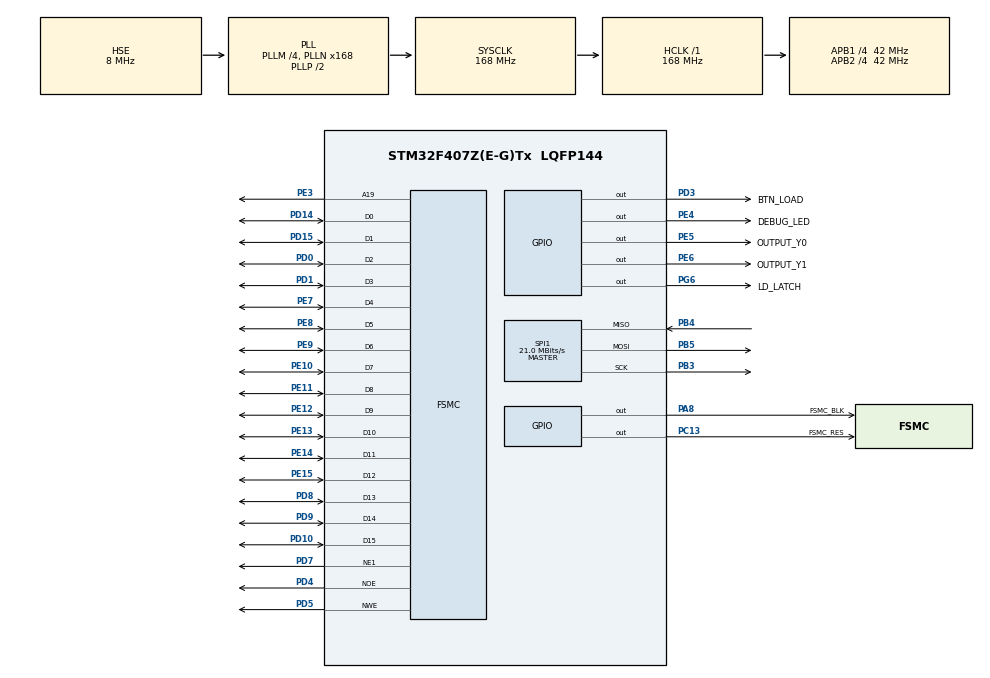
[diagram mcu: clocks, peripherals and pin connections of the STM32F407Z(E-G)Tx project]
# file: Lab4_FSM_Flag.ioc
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FSMC.AddressSetupTime1=0xf
FSMC.BusTurnAroundDuration1=0
FSMC.DataSetupTime1=60
FSMC.ExtendedAddressSetupTime1=9
FSMC.ExtendedBusTurnAroundDuration1=0
FSMC.ExtendedDataSetupTime1=8
FSMC.ExtendedMode1=FSMC_EXTENDED_MODE_ENABLE
Mcu.Family=STM32F4
Mcu.Name=STM32F407Z(E-G)Tx
Mcu.Package=LQFP144
NVIC.PriorityGroup=NVIC_PRIORITYGROUP_4
NVIC.TIM2_IRQn=true\:0\:0\:false\:false\:true\:true\:true\:true
NVIC.TIM4_IRQn=true\:0\:0\:false\:false\:true\:true\:true\:true
PA13.Mode=Serial_Wire
PA13.Signal=SYS_JTMS-SWDIO
PA14.Mode=Serial_Wire
PA14.Signal=SYS_JTCK-SWCLK
PA8.GPIO_Label=FSMC_BLK
PA8.Signal=GPIO_Output
PB3.Mode=Full_Duplex_Master
PB3.Signal=SPI1_SCK
PB4.Mode=Full_Duplex_Master
PB4.Signal=SPI1_MISO
PB5.Mode=Full_Duplex_Master
PB5.Signal=SPI1_MOSI
PC13-ANTI_TAMP.GPIO_Label=FSMC_RES
PC13-ANTI_TAMP.Signal=GPIO_Output
PD0.Signal=FSMC_D2_DA2
PD1.Signal=FSMC_D3_DA3
PD10.Signal=FSMC_D15_DA15
PD14.Signal=FSMC_D0_DA0
PD15.Signal=FSMC_D1_DA1
PD3.GPIO_Label=BTN_LOAD
PD3.Signal=GPIO_Output
PD4.Signal=FSMC_NOE
PD5.Signal=FSMC_NWE
PD7.Mode=NorPsramChipSelect1_1
PD7.Signal=FSMC_NE1
PD8.Signal=FSMC_D13_DA13
PD9.Signal=FSMC_D14_DA14
PE10.Signal=FSMC_D7_DA7
PE11.Signal=FSMC_D8_DA8
PE12.Signal=FSMC_D9_DA9
PE13.Signal=FSMC_D10_DA10
PE14.Signal=FSMC_D11_DA11
PE15.Signal=FSMC_D12_DA12
PE3.Signal=FSMC_A19
PE4.GPIO_Label=DEBUG_LED
PE4.Signal=GPIO_Output
PE5.GPIO_Label=OUTPUT_Y0
PE5.Signal=GPIO_Output
PE6.GPIO_Label=OUTPUT_Y1
PE6.Signal=GPIO_Output
PE7.Signal=FSMC_D4_DA4
PE8.Signal=FSMC_D5_DA5
PE9.Signal=FSMC_D6_DA6
PG6.GPIO_Label=LD_LATCH
PG6.Signal=GPIO_Output
PH0-OSC_IN.Mode=HSE-External-Oscillator
PH0-OSC_IN.Signal=RCC_OSC_IN
PH1-OSC_OUT.Mode=HSE-External-Oscillator
PH1-OSC_OUT.Signal=RCC_OSC_OUT
ProjectManager.HeapSize=0x200
ProjectManager.StackSize=0x400
ProjectManager.TargetToolchain=STM32CubeIDE
RCC.48MHZClocksFreq_Value=84000000
RCC.AHBFreq_Value=168000000
RCC.APB1CLKDivider=RCC_HCLK_DIV4
RCC.APB1Freq_Value=42000000
RCC.APB1TimFreq_Value=84000000
RCC.APB2CLKDivider=RCC_HCLK_DIV4
RCC.APB2Freq_Value=42000000
RCC.APB2TimFreq_Value=84000000
RCC.CortexFreq_Value=168000000
RCC.HCLKFreq_Value=168000000
RCC.HSE_VALUE=8000000
RCC.HSI_VALUE=16000000
RCC.LSE_VALUE=32768
RCC.PLLM=4
RCC.PLLN=168
RCC.PLLSourceVirtual=RCC_PLLSOURCE_HSE
RCC.SYSCLKFreq_VALUE=168000000
RCC.SYSCLKSource=RCC_SYSCLKSOURCE_PLLCLK
RCC.VCOOutputFreq_Value=336000000
SH.FSMC_A19.0=FSMC_A19,A19_1
SH.FSMC_D0_DA0.0=FSMC_D0,16b-d1
SH.FSMC_D10_DA10.0=FSMC_D10,16b-d1
SH.FSMC_D11_DA11.0=FSMC_D11,16b-d1
SH.FSMC_D12_DA12.0=FSMC_D12,16b-d1
SH.FSMC_D13_DA13.0=FSMC_D13,16b-d1
SH.FSMC_D14_DA14.0=FSMC_D14,16b-d1
SH.FSMC_D15_DA15.0=FSMC_D15,16b-d1
SH.FSMC_D1_DA1.0=FSMC_D1,16b-d1
SH.FSMC_D2_DA2.0=FSMC_D2,16b-d1
SH.FSMC_D3_DA3.0=FSMC_D3,16b-d1
SH.FSMC_D4_DA4.0=FSMC_D4,16b-d1
SH.FSMC_D5_DA5.0=FSMC_D5,16b-d1
SH.FSMC_D6_DA6.0=FSMC_D6,16b-d1
SH.FSMC_D7_DA7.0=FSMC_D7,16b-d1
SH.FSMC_D8_DA8.0=FSMC_D8,16b-d1
SH.FSMC_D9_DA9.0=FSMC_D9,16b-d1
SH.FSMC_NOE.0=FSMC_NOE,Lcd1
SH.FSMC_NWE.0=FSMC_NWE,Lcd1
SPI1.CalculateBaudRate=21.0 MBits/s
SPI1.Direction=SPI_DIRECTION_2LINES
SPI1.Mode=SPI_MODE_MASTER
SPI1.VirtualType=VM_MASTER
TIM2.Period=100-1
TIM2.Prescaler=840-1
TIM4.Period=100-1
TIM4.Prescaler=840-1
VP_TIM2_VS_ClockSourceINT.Mode=Internal
VP_TIM4_VS_ClockSourceINT.Mode=Internal
board=custom

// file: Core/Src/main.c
/* USER CODE BEGIN Header */
/**
 ******************************************************************************
 * @file           : main.c
 * @brief          : Main program body
 ******************************************************************************
 * @attention
 *
 * <h2><center>&copy; Copyright (c) 2023 STMicroelectronics.
 * All rights reserved.</center></h2>
 *
 * This software component is licensed by ST under BSD 3-Clause license,
 * the "License"; You may not use this file except in compliance with the
 * License. You may obtain a copy of the License at:
 *                        opensource.org/licenses/BSD-3-Clause
 *
 ******************************************************************************
 */
/* USER CODE END Header */
#include "main.h"
#include "spi.h"
#include "tim.h"
#include "gpio.h"
#include "fsmc.h"

/* USER CODE BEGIN Includes */
#include "software_timer.h"
#include "button.h"
#include "lcd.h"
#include "picture.h"
/* USER CODE END Includes */

/* USER CODE BEGIN PD */
#define	INIT_SYSTEM     0
#define	MOVING_UP       1
#define	MOVING_DOWN     2
#define	STOP_MOVING     3
#define	TOP_POSITION    4
#define	BOTTOM_POSITION 5

#define TOP_POSITION_OF_FLAG 	100
#define BOTTOM_POSITION_OF_FLAG 200
/* USER CODE END PD */

/* USER CODE BEGIN PV */
uint8_t statusFlag = INIT_SYSTEM;
uint16_t flag_position = BOTTOM_POSITION_OF_FLAG;
/* USER CODE END PV */

void SystemClock_Config(void);
/* USER CODE BEGIN PFP */
void init_system();

uint8_t IsButtonUp();
uint8_t IsButtonDown();
uint8_t IsButtonStop();
uint8_t IsBottomSwitch();
uint8_t IsTopSwitch();
void FlagMovingDown();
void FlagMovingUp();
void FlagStopMoving();
void BaiTapFlag();
/* USER CODE END PFP */

int main(void) {

	/* MCU Configuration--------------------------------------------------------*/

	/* Reset of all peripherals, Initializes the Flash interface and the Systick. */
	HAL_Init();

	/* Configure the system clock */
	SystemClock_Config();

	/* Initialize all configured peripherals */
	MX_GPIO_Init();
	MX_TIM2_Init();
	MX_SPI1_Init();
	MX_FSMC_Init();
	MX_TIM4_Init();
	/* USER CODE BEGIN 2 */
	init_system();
	/* USER CODE END 2 */

	/* Infinite loop */
	/* USER CODE BEGIN WHILE */
	while (1) {
		while (timer2_flag == 0)
			;
		timer2_flag = 0;

		// INPUT
		button_scan();

		// PROCESS
		BaiTapFlag();

		// OUTPPUT

		/* USER CODE END WHILE */

	}
}

void SystemClock_Config(void) {
	RCC_OscInitTypeDef RCC_OscInitStruct = { 0 };
	RCC_ClkInitTypeDef RCC_ClkInitStruct = { 0 };

	/** Configure the main internal regulator output voltage
	 */
	__HAL_RCC_PWR_CLK_ENABLE();
	__HAL_PWR_VOLTAGESCALING_CONFIG(PWR_REGULATOR_VOLTAGE_SCALE1);

	/** Initializes the RCC Oscillators according to the specified parameters
	 * in the RCC_OscInitTypeDef structure.
	 */
	RCC_OscInitStruct.OscillatorType = RCC_OSCILLATORTYPE_HSE;
	RCC_OscInitStruct.HSEState = RCC_HSE_ON;
	RCC_OscInitStruct.PLL.PLLState = RCC_PLL_ON;
	RCC_OscInitStruct.PLL.PLLSource = RCC_PLLSOURCE_HSE;
	RCC_OscInitStruct.PLL.PLLM = 4;
	RCC_OscInitStruct.PLL.PLLN = 168;
	RCC_OscInitStruct.PLL.PLLP = RCC_PLLP_DIV2;
	RCC_OscInitStruct.PLL.PLLQ = 4;
	if (HAL_RCC_OscConfig(&RCC_OscInitStruct) != HAL_OK) {
		Error_Handler();
	}

	/** Initializes the CPU, AHB and APB buses clocks
	 */
	RCC_ClkInitStruct.ClockType = RCC_CLOCKTYPE_HCLK | RCC_CLOCKTYPE_SYSCLK
			| RCC_CLOCKTYPE_PCLK1 | RCC_CLOCKTYPE_PCLK2;
	RCC_ClkInitStruct.SYSCLKSource = RCC_SYSCLKSOURCE_PLLCLK;
	RCC_ClkInitStruct.AHBCLKDivider = RCC_SYSCLK_DIV1;
	RCC_ClkInitStruct.APB1CLKDivider = RCC_HCLK_DIV4;
	RCC_ClkInitStruct.APB2CLKDivider = RCC_HCLK_DIV4;

	if (HAL_RCC_ClockConfig(&RCC_ClkInitStruct, FLASH_LATENCY_5) != HAL_OK) {
		Error_Handler();
	}
}

/* USER CODE BEGIN 4 */
void init_system() {
	HAL_GPIO_WritePin(OUTPUT_Y0_GPIO_Port, OUTPUT_Y0_Pin, 0);
	HAL_GPIO_WritePin(OUTPUT_Y1_GPIO_Port, OUTPUT_Y1_Pin, 0);
	HAL_GPIO_WritePin(DEBUG_LED_GPIO_Port, DEBUG_LED_Pin, 0);

	button_init();
	lcd_init();

	timer2_init();
	timer2_set(50);

	HAL_Delay(1000);
}

uint8_t IsButtonUp() {
	if (button_count[3] == 1)
		return 1;
	else
		return 0;
}

uint8_t IsButtonDown() {
	if (button_count[7] == 1)
		return 1;
	else
		return 0;
}

uint8_t IsButtonStop() {
	if (button_count[11] == 1)
		return 1;
	else
		return 0;
}

uint8_t IsBottomSwitch() {
	if (flag_position == BOTTOM_POSITION_OF_FLAG)
		return 1;
	else
		return 0;
}

uint8_t IsTopSwitch() {
	if (flag_position == TOP_POSITION_OF_FLAG)
		return 1;
	else
		return 0;
}

void FlagMovingDown() {
	lcd_draw_line(132, flag_position - 1, 222, flag_position - 1, 0x875c);
	lcd_show_picture(132, flag_position, 90, 58, gImage_l_flag);
	flag_position++;
}

void FlagMovingUp() {
	lcd_draw_line(132, flag_position + 58, 222, flag_position + 58, 0x875c);
	lcd_show_picture(132, flag_position, 90, 58, gImage_l_flag);
	flag_position--;
}

void FlagStopMoving() {
	lcd_show_picture(132, flag_position, 90, 58, gImage_l_flag);
}

void BaiTapFlag() {
	switch (statusFlag) {
	case INIT_SYSTEM:
		lcd_clear(0x875c);
		lcd_fill(0, 0, 240, 20, BLUE);
		lcd_show_picture(80, 100, 90, 209, gImage_c_flag);

		statusFlag = BOTTOM_POSITION;
		break;

	case MOVING_UP:
		lcd_show_string_center(0, 2, "   MOVING UP   ", WHITE, BLUE, 16, 0);
		FlagMovingUp();

		if (IsButtonDown()) {
			statusFlag = MOVING_DOWN;
		}

		if (IsTopSwitch()) {
			statusFlag = TOP_POSITION;
		}

		if (IsButtonStop()) {
			statusFlag = STOP_MOVING;
		}
		break;

	case BOTTOM_POSITION:
		lcd_show_string_center(0, 2, "BOTTOM POSITION", WHITE, BLUE, 16, 0);
		FlagStopMoving();

		if (IsButtonUp()) {
			statusFlag = MOVING_UP;
		}
		break;

	case MOVING_DOWN:
		lcd_show_string_center(0, 2, "  MOVING DOWN  ", WHITE, BLUE, 16, 0);
		FlagMovingDown();

		if (IsBottomSwitch()) {
			statusFlag = BOTTOM_POSITION;
		}

		if (IsButtonStop()) {
			statusFlag = STOP_MOVING;
		}
		break;

	case TOP_POSITION:
		lcd_show_string_center(0, 2, "  TOP POSTION  ", WHITE,
		BLUE, 16, 0);
		FlagStopMoving();

		if (IsButtonDown()) {
			statusFlag = MOVING_DOWN;
		}
		break;

	case STOP_MOVING:
		lcd_show_string_center(0, 2, "  STOP MOVING  ", WHITE, BLUE, 16, 0);
		FlagStopMoving();

		if (IsButtonUp()) {
			statusFlag = MOVING_UP;
		}

		if (IsButtonDown()) {
			statusFlag = MOVING_DOWN;
		}
		break;

	default:
		statusFlag = INIT_SYSTEM;
		break;
	}
}

/* USER CODE END 4 */

void Error_Handler(void) {
	__disable_irq();
	while (1) {
	}
}
